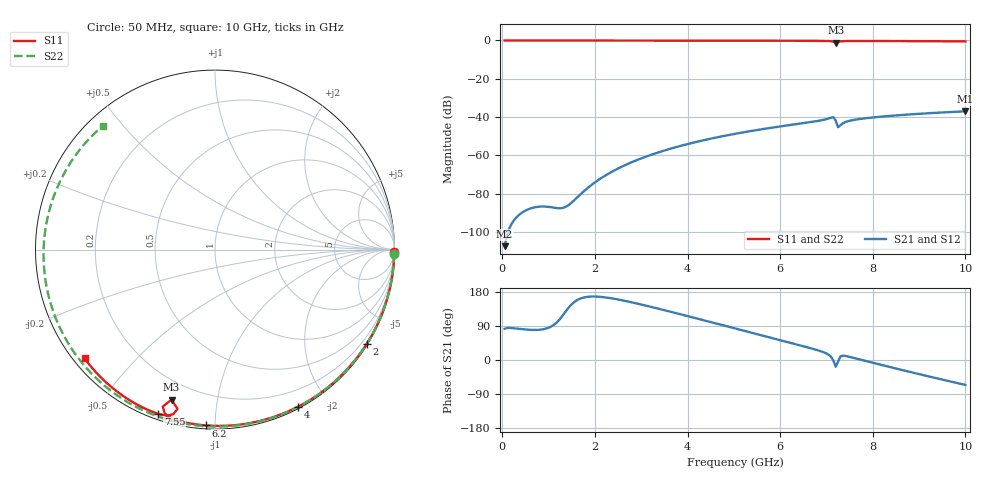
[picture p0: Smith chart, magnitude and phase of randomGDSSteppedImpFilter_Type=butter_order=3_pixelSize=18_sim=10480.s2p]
! freq	dB(S11)	phase(S11)	dB(S12)	phase(S12)
!  dB(S21)	phase(S21)	dB(S22)	phase(S22)
!S-par simulation data
#  GHz  S  DB  R 50
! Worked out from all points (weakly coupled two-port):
!   200 points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, 50 MHz to 10 GHz, reference 50 ohm
!   highest |S21| = -37.05 dB at 10 GHz (marker M1); lowest = -107.5 dB at 50 MHz (marker M2)
!   lowest |S11| = -1.2 dB at 7.2 GHz (marker M3), VSWR 14.46, Z = 5.39 - j37.3 ohm
!   |S11| at or under -10 dB: nowhere
!   |S22| runs from -0.6 to 0.0 dB; largest |S21 - S12| = 0
!   S11 on the Smith chart (normalised r, x): 50 MHz: open; 2 GHz: 0.03, -3.49; 4 GHz: 0.02, -1.66; 6.2 GHz: 0.02, -0.95; 7.55 GHz: 0.02, -0.71; 10 GHz: 0.03, -0.36
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0.05  -0.01 -0.8  -107.46 82.3  -107.46 82.3  -0.01 -1.3
0.85  -0.02 -13.7  -86.74 80.5  -86.74 80.5  -0.03 -22.1
1.7  -0.03 -27.3  -80.12 162.8  -80.12 162.8  -0.06 -43.6
1.75  -0.04 -28.1  -79.02 164.6  -79.02 164.6  -0.06 -44.8
2  -0.04 -32.0  -74.15 167.5  -74.15 167.5  -0.07 -51.0
2.3  -0.05 -36.7  -69.49 163.9  -69.49 163.9  -0.07 -58.2
2.6  -0.05 -41.3  -65.72 157.3  -65.72 157.3  -0.08 -65.4
3  -0.06 -47.4  -61.62 146.4  -61.62 146.4  -0.10 -74.8
3.4  -0.07 -53.4  -58.25 134.6  -58.25 134.6  -0.11 -83.9
4  -0.09 -62.2  -54.13 115.9  -54.13 115.9  -0.13 -97.3
5.05  -0.12 -77.2  -48.67 82.6  -48.67 82.6  -0.18 -119.7
6.2  -0.17 -92.9  -44.23 46.1  -44.23 46.1  -0.25 -143.4
6.7  -0.20 -99.8  -42.49 29.7  -42.49 29.7  -0.29 -153.7
7.05  -0.31 -105.8  -40.75 13.8  -40.75 13.8  -0.32 -160.9
7.15  -0.71 -108.4  -40.07 -1.6  -40.07 -1.6  -0.33 -163.0
7.2  -1.20 -106.1  -41.88 -17.8  -41.88 -17.8  -0.33 -164.0
7.25  -0.81 -103.3  -45.29 -4.9  -45.29 -4.9  -0.33 -165.1
7.4  -0.33 -106.5  -42.71 10.9  -42.71 10.9  -0.35 -168.2
7.55  -0.28 -109.0  -41.69 6.6  -41.69 6.6  -0.36 -171.3
8.35  -0.31 -119.7  -39.47 -18.0  -39.47 -18.0  -0.44 171.4
9.2  -0.39 -130.3  -38.02 -43.1  -38.02 -43.1  -0.53 152.0
10  -0.48 -140.2  -37.05 -65.8  -37.05 -65.8  -0.62 132.3
